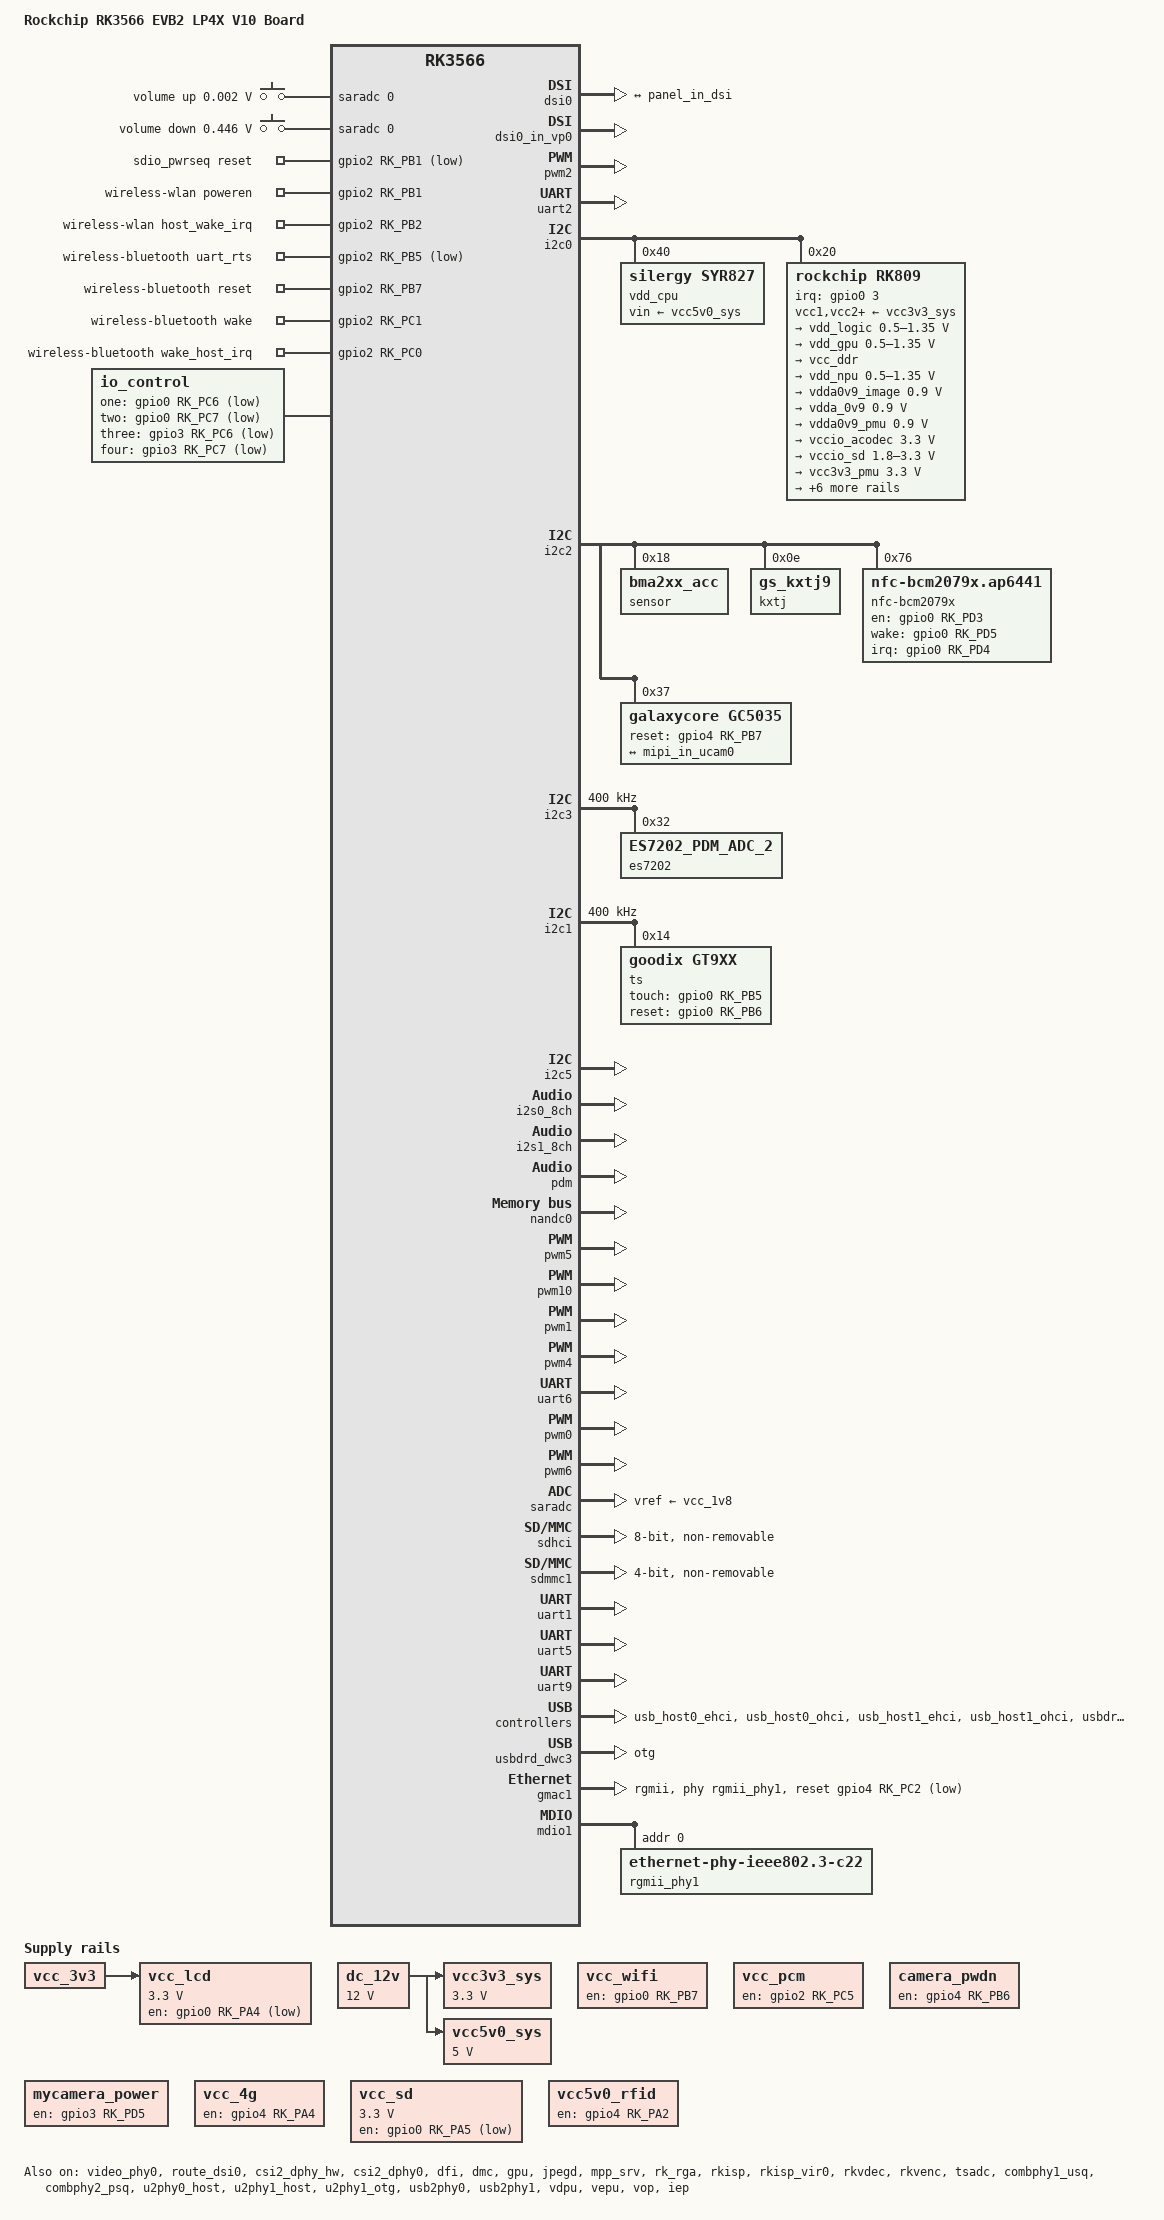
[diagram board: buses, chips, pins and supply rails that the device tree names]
// SPDX-License-Identifier: (GPL-2.0+ OR MIT)
/*
 * Copyright (c) 2020 Rockchip Electronics Co., Ltd.
 *
 */

/dts-v1/;

#include <dt-bindings/gpio/gpio.h>
#include <dt-bindings/display/media-bus-format.h>
#include <dt-bindings/pinctrl/rockchip.h>
#include <dt-bindings/display/rockchip_vop.h>
#include "rk3566.dtsi"
//#include "rk3566-evb.dtsi"
#include "rk3568-evb-r128.dtsi"//rocky
#include "rk3568-linux.dtsi"
#include "lcd-JL101-CC1001-27K-r128.dtsi"
/ {
	model = "Rockchip RK3566 EVB2 LP4X V10 Board";
	compatible = "rockchip,rk3566-evb2-lp4x-v10", "rockchip,rk3566";

	adc_keys: adc-keys {
		compatible = "adc-keys";
		io-channels = <&saradc 0>;
		io-channel-names = "buttons";
		keyup-threshold-microvolt = <1800000>;
		poll-interval = <100>;

		vol-up-key {
			label = "volume up";
			linux,code = <KEY_VOLUMEUP>;
			press-threshold-microvolt = <1750>;
		};

		vol-down-key {
			label = "volume down";
			linux,code = <KEY_VOLUMEDOWN>;
			press-threshold-microvolt = <446000>;
		};
	};
	
	hdmi_sound: hdmi-sound {
		compatible = "simple-audio-card";
		simple-audio-card,format = "i2s";
		simple-audio-card,mclk-fs = <128>;
		simple-audio-card,name = "rockchip,hdmi";
		status = "disabled";

		simple-audio-card,cpu {
				sound-dai = <&i2s0_8ch>;
		};
		simple-audio-card,codec {
				sound-dai = <&hdmi>;
		};
	};

	
	
	dc_12v: dc-12v {
		compatible = "regulator-fixed";
		regulator-name = "dc_12v";
		regulator-always-on;
		regulator-boot-on;
		regulator-min-microvolt = <12000000>;//12000000
		regulator-max-microvolt = <12000000>;//12000000
	};
	
	vcc3v3_sys: vcc3v3-sys {
		compatible = "regulator-fixed";
		regulator-name = "vcc3v3_sys";
		regulator-always-on;
		regulator-boot-on;
		regulator-min-microvolt = <3300000>;
		regulator-max-microvolt = <3300000>;
		vin-supply = <&dc_12v>;
	};

	vcc5v0_sys: vcc5v0-sys {
		compatible = "regulator-fixed";
		regulator-name = "vcc5v0_sys";
		regulator-always-on;
		regulator-boot-on;
		regulator-min-microvolt = <5000000>;
		regulator-max-microvolt = <5000000>;
		vin-supply = <&dc_12v>;
	};
	
	vcc_wifi: vcc-wifi-regulator {
		compatible = "regulator-fixed";
		gpio = <&gpio0 RK_PB7 GPIO_ACTIVE_HIGH>;
		pinctrl-names = "default";
		pinctrl-0 = <&wifi_bat>;
		regulator-name = "vcc_wifi";
		enable-active-high;
		regulator-always-on;
		regulator-boot-on;
	};
        vcc_pcm: vcc-pcm-regulator {
                compatible = "regulator-fixed";
                gpio = <&gpio2 RK_PC5 GPIO_ACTIVE_HIGH>;
                pinctrl-names = "default";
                pinctrl-0 = <&pcm_bat>;
                regulator-name = "vcc_pcm";
                enable-active-high;
                regulator-always-on;
                regulator-boot-on;
        };
	camera_pwdn:camera-pwdn-regulator {
        compatible = "regulator-fixed";
            regulator-name = "camera_pwdn";
            gpio = <&gpio4 RK_PB6 GPIO_ACTIVE_HIGH>;
            pinctrl-names = "default";
            pinctrl-0 = <&camera_pwdns>;
            enable-active-high;
            regulator-always-on;
            regulator-boot-on;
    };
    mycamera_power:mycamera-power-regulator {
        compatible = "regulator-fixed";
            regulator-name = "mycamera_power";
            gpio = <&gpio3 RK_PD5 GPIO_ACTIVE_HIGH>;
            pinctrl-names = "default";
            pinctrl-0 = <&mycamera_powers>;
            enable-active-high;
            regulator-always-on;
            regulator-boot-on;
    };
	
	
	vcc_4g: vcc-4g-regulator {
		compatible = "regulator-fixed";
		gpio = <&gpio4 RK_PA4 GPIO_ACTIVE_HIGH>;
		pinctrl-names = "default";
		pinctrl-0 = <&pwr_4g>;
		regulator-name = "vcc_4g";
		enable-active-high;
		regulator-always-on;
		regulator-boot-on;
	};
	
	/*vcc_spk_con: vcc-spk-con {
		compatible = "regulator-fixed";
		gpio = <&gpio4 RK_PA3 GPIO_ACTIVE_HIGH>;
		pinctrl-names = "default";
		pinctrl-0 = <&spk_con>;
		regulator-name = "spk_con";
		enable-active-high;
		regulator-always-on;
		regulator-boot-on;
	};*/
	
	
	
	/*rk809_sound: rk809-sound {
		status = "okay";
		compatible = "simple-audio-card";
		simple-audio-card,format = "i2s";
		simple-audio-card,name = "rockchip,rk809-codec";
		simple-audio-card,mclk-fs = <256>;

		simple-audio-card,cpu {
			sound-dai = <&i2s1_8ch>;
		};
		simple-audio-card,codec {
			sound-dai = <&rk809_codec>;
		};
	};*/
	
	rk809_sound: rk809-sound {
		status = "okay";
		compatible = "rockchip,multicodecs-card";
		rockchip,card-name = "rockchip-rk809";
		rockchip,format = "i2s";
		rockchip,mclk-fs = <256>;
		rockchip,cpu = <&i2s1_8ch>;
		rockchip,codec = <&rk809_codec>;
	};
	
	vad_sound: vad-sound {
		status = "disabled";
		compatible = "rockchip,multicodecs-card";
		rockchip,card-name = "rockchip,rk3568-vad";
		rockchip,cpu = <&i2s1_8ch>;
		rockchip,codec = <&rk809_codec>, <&vad>;
	};

	pdm_mic_array: pdm-mic-array {
		status = "okay";
		compatible = "simple-audio-card";
		simple-audio-card,name = "rockchip,pdm-mic-array";
		simple-audio-card,cpu {
			 sound-dai = <&pdm>;
		};
		simple-audio-card,codec {
			 sound-dai = <&pdmics>;
		};
	};

	pdmics: dummy-codec {
		status = "okay";
		compatible = "rockchip,dummy-codec";
		#sound-dai-cells = <0>;
	};
 
	/*rk_headset: rk-headset {
		compatible = "rockchip_headset";
		headset_gpio = <&gpio4 RK_PA1 GPIO_ACTIVE_LOW>;
		pinctrl-names = "default";
		pinctrl-0 = <&hp_det>;
		io-channels = <&saradc 2>;
	};*/

	sdio_pwrseq: sdio-pwrseq {
		compatible = "mmc-pwrseq-simple";
		clocks = <&rk809 1>;
		clock-names = "ext_clock";
		pinctrl-names = "default";
		pinctrl-0 = <&wifi_enable_h>;

		/*
		 * On the module itself this is one of these (depending
		 * on the actual card populated):
		 * - SDIO_RESET_L_WL_REG_ON
		 * - PDN (power down when low)
		 */
		post-power-on-delay-ms = <200>;
		reset-gpios = <&gpio2 RK_PB1 GPIO_ACTIVE_LOW>;
	};

	vcc_sd: vcc-sd {
		compatible = "regulator-gpio";
		enable-active-low;
		enable-gpio = <&gpio0 RK_PA5 GPIO_ACTIVE_LOW>;
		regulator-min-microvolt = <3300000>;
		regulator-max-microvolt = <3300000>;
		pinctrl-names = "default";
		pinctrl-0 = <&vcc_sd_h>;
		regulator-name = "vcc_sd";
		states = <3300000 0x0
			3300000 0x1>;
	};
	
	vcc_lcd: vcc-lcd-regulator {
		compatible = "regulator-fixed";
		regulator-name = "vcc_lcd";
		regulator-boot-on;
		regulator-min-microvolt = <3300000>;
		regulator-max-microvolt = <3300000>;
		//enable-active-high;
		enable-active-low;
		//regulator-always-on;
		gpio = <&gpio0 RK_PA4 GPIO_ACTIVE_LOW>;
		pinctrl-names = "default";
		pinctrl-0 = <&lcd_enable_gpio>;
		vin-supply = <&vcc_3v3>;

		regulator-state-mem {
			regulator-off-in-suspend;
		};
	};

	wireless-wlan {
		compatible = "wlan-platdata";
		rockchip,grf = <&grf>;
		wifi_chip_type = "ap6398s";
		WIFI,poweren_gpio = <&gpio2 RK_PB1 GPIO_ACTIVE_HIGH>;
		WIFI,host_wake_irq = <&gpio2 RK_PB2 GPIO_ACTIVE_HIGH>;
		pinctrl-names = "default";
		pinctrl-0 = <&wifi_host_wake_irq>;
		status = "okay";
	};

	wireless-bluetooth {
		compatible = "bluetooth-platdata";
		clocks = <&rk809 1>;
		clock-names = "ext_clock";
		//wifi-bt-power-toggle;
		uart_rts_gpios = <&gpio2 RK_PB5 GPIO_ACTIVE_LOW>;
		pinctrl-names = "default", "rts_gpio";
		pinctrl-0 = <&uart1m0_rtsn>,<&bt_reset_gpio>,<&bt_wake_gpio>,<&bt_irq_gpio>;
		pinctrl-1 = <&uart1_gpios>;
		BT,reset_gpio    = <&gpio2 RK_PB7 GPIO_ACTIVE_HIGH>;
		BT,wake_gpio     = <&gpio2 RK_PC1 GPIO_ACTIVE_HIGH>;
		BT,wake_host_irq = <&gpio2 RK_PC0 GPIO_ACTIVE_HIGH>;
		status = "okay";
	};
	
	//add by rocky
	test-power {
		status = "okay";
	};
	
	io_control {
		compatible = "io_control";
		gpio-one = <&gpio0 RK_PC6 GPIO_ACTIVE_LOW>;
		gpio-two = <&gpio0 RK_PC7 GPIO_ACTIVE_LOW>;
		gpio-three = <&gpio3 RK_PC6 GPIO_ACTIVE_LOW>;
		gpio-four = <&gpio3 RK_PC7 GPIO_ACTIVE_LOW>;
		pinctrl-names = "default","one","two","three";
		pinctrl-0 = <&gpio_one>;
		pinctrl-1 = <&gpio_two>;
		pinctrl-2 = <&gpio_three>;
		pinctrl-3 = <&gpio_four>;
		status = "okay";
	};
	
	pwmleds{
		compatible = "pwm-wa-leds";
		pwms = <&pwm10 0 100000  0>;
		red-pwm-id = <10>;
		red-period = <1000000>;//100000
		red-default-level = <0>;
		green-pwm-id = <0>;//1
		green-period = <1000000>;//100000	
		green-default-level = <0>;
		blue-pwm-id = <2>;//5
		blue-period = <1000000>;//100000
		blue-default-level = <0>;

	        led_con_1 = <&gpio4 RK_PB1 GPIO_ACTIVE_LOW>;
		pinctrl-names = "default";
		pinctrl-0 = <&led_pwr>;	
		status = "okay";
	};
	
	/*led_con_h {
		compatible = "led_con_h";
		//zigbee-en-gpio = <&gpio0 GPIO_C2 GPIO_ACTIVE_HIGH>;
		//led-power = <131>;//gpio4 RK_PA3
		led-gpio = <&gpio3 RK_PC1 GPIO_ACTIVE_HIGH>;
		status = "disabled";
	};*/
        /*motion-det{
	    compatible = "nix-sensor";
	    motion_det = <&gpio3 RK_PC1 GPIO_ACTIVE_HIGH>;
	   status = "okay";
    };*/
  
   vcc5v0_rfid: vcc5v0-rfid {
		compatible = "regulator-fixed";
		enable-active-high;
		gpio = <&gpio4 RK_PA2 GPIO_ACTIVE_HIGH>;
		pinctrl-names = "default";
		pinctrl-0 = <&vcc5v0_rfid_en>;
		regulator-name = "vcc5v0_rfid";
		regulator-always-on;
		regulator-boot-on;
		//regulator-min-microvolt = <5000000>;
		//regulator-max-microvolt = <5000000>;
		//vin-supply = <&dc_12v>;
	};

};

&dsi0{
    status ="okay";
    	ports {
		#address-cells = <1>;
		#size-cells = <0>;

		port@1 {
			reg = <1>;
			dsi_out_panel: endpoint {
				remote-endpoint = <&panel_in_dsi>;
			};
		};
	};
};
/*
 * video_phy0 needs to be enabled
 * when dsi0 is enabled
 */
&dsi0_in_vp0 {
	status = "okay";
};
&dsi0_in_vp1 {
	status = "disabled";
};
&video_phy0{
    status = "okay";
};
&route_dsi0 {
	status = "okay";
	connect = <&vp0_out_dsi0>;
};
/*
 * video_phy1 needs to be enabled
 * when dsi1 is enabled
 */
&video_phy1{
    status = "disabled";
};
&dsi1 {
	status = "disabled";
};

&dsi1_in_vp0 {
	status = "disabled";
};

&dsi1_in_vp1 {
	status = "disabled";
};

&dsi0_panel{
     status = "okay";
	 power-supply = <&vcc_lcd>;
	 reset-gpios = <&gpio4 RK_PA0 GPIO_ACTIVE_LOW>;
	 pinctrl-names = "default";
	 pinctrl-0 = <&lcd_rst_gpio>;
	ports {
		#address-cells = <1>;
		#size-cells = <0>;

		port@0 {
			reg = <0>;
			panel_in_dsi: endpoint {
				remote-endpoint = <&dsi_out_panel>;
			};
		};
	};
};

&edp_phy {
	status = "disabled";
};

&edp_in_vp1 {
	status = "disabled";
};

&edp_in_vp0 {
	status = "disabled";
};

&route_edp {
	status = "disabled";
	connect = <&vp1_out_edp>;
};
&pwm2 {
     status = "okay";
	 };

&cpu0 {
	cpu-supply = <&vdd_cpu>;
};

&uart2 {
      status = "okay";
      pinctrl-name = "default";
      pinctrl-0 = <&uart2m0_xfer>;
};

&csi2_dphy_hw {
	status = "okay";
};

&csi2_dphy0 {
	status = "okay";

	ports {
		#address-cells = <1>;
		#size-cells = <0>;

		port@0 {
			reg = <0>;
			#address-cells = <1>;
			#size-cells = <0>;

			dphy0_in: endpoint@1 {
				reg = <1>;
				remote-endpoint = <&gc8034_out>;
				data-lanes = <1 2 3 4>;
			};
                        mipi_in_ucam0: endpoint@0 {
				reg = <0>;
				remote-endpoint = <&gc5035_out>;
				data-lanes = <1 2>;
			};
			mipi_in_ucam1: endpoint@2 {
				reg = <2>;
				remote-endpoint = <&ov5695_out>;
				data-lanes = <1 2>;
			};

			/*mipi_in_ucam2: endpoint@3 {
				reg = <3>;
				remote-endpoint = <&gc5025_out>;
				data-lanes = <1 2>;
			};*/
		};

		port@1 {
			reg = <1>;
			#address-cells = <1>;
			#size-cells = <0>;

			dphy0_out: endpoint@1 {
				reg = <1>;
				remote-endpoint = <&isp0_in_dphy0>;
			};
		};
	};
};

&csi2_dphy1 {
	status = "disabled";

	/*
	 * dphy1 only used for split mode,
	 * can be used  concurrently  with dphy2
	 * full mode and split mode are mutually exclusive
	 */
	ports {
		#address-cells = <1>;
		#size-cells = <0>;

		port@0 {
			reg = <0>;
			#address-cells = <1>;
			#size-cells = <0>;

			dphy1_in: endpoint@1 {
				reg = <1>;
				//remote-endpoint = <&ov5695_out>;
				data-lanes = <1 2>;
			};
		};

		port@1 {
			reg = <1>;
			#address-cells = <1>;
			#size-cells = <0>;

			dphy1_out: endpoint@1 {
				reg = <1>;
				remote-endpoint = <&isp0_in>;
			};
		};
	};
};

&dfi {
	status = "okay";
};

&dmc {
	center-supply = <&vdd_logic>;
	status = "okay";
};







&gpu {
	mali-supply = <&vdd_gpu>;
	status = "okay";
};

&hdmi {
	status = "disabled";
	rockchip,phy-table =
		<92812500  0x8009 0x0000 0x0270>,
		<165000000 0x800b 0x0000 0x026d>,
		<185625000 0x800b 0x0000 0x01ed>,
		<297000000 0x800b 0x0000 0x01ad>,
		<594000000 0x8029 0x0000 0x0088>,
		<000000000 0x0000 0x0000 0x0000>;
};

&hdmi_in_vp0 {
	status = "disabled";
};

&hdmi_in_vp1 {
	status = "disabled";
};

&hdmi_sound {
	status = "disabled";
};

&i2c0 {
	status = "okay";

	/*vdd_cpu: tcs4525@1c {
		compatible = "tcs,tcs452x";
		reg = <0x1c>;
		vin-supply = <&vccsys>;
		regulator-compatible = "fan53555-reg";
		regulator-name = "vdd_cpu";
		regulator-min-microvolt = <712500>;
		regulator-max-microvolt = <1390000>;
		regulator-init-microvolt = <900000>;
		regulator-ramp-delay = <2300>;
		fcs,suspend-voltage-selector = <1>;
		regulator-boot-on;
		regulator-always-on;
		regulator-state-mem {
			regulator-off-in-suspend;
		};
	};*/
	
	vdd_cpu: syr827@40 {
		compatible = "silergy,syr827";
		reg = <0x40>;
		vin-supply = <&vcc5v0_sys>;
		regulator-compatible = "fan53555-reg";
		//pinctrl-0 = <&soc_slppin_gpio>;
		//vsel-gpios = <&gpio0 2 GPIO_ACTIVE_HIGH>;
		regulator-name = "vdd_cpu";
		regulator-min-microvolt = <712500>;
		regulator-max-microvolt = <1500000>;
		regulator-init-microvolt = <900000>;//rocky
		regulator-ramp-delay = <1000>;
		fcs,suspend-voltage-selector = <1>;
		regulator-always-on;
		regulator-boot-on;
		regulator-initial-state = <3>;
		regulator-state-mem {
			regulator-off-in-suspend;
		};
	};

	rk809: pmic@20 {
		compatible = "rockchip,rk809";
		reg = <0x20>;
		interrupt-parent = <&gpio0>;
		interrupts = <3 IRQ_TYPE_LEVEL_LOW>;

		pinctrl-names = "default", "pmic-sleep",
				"pmic-power-off", "pmic-reset";
		pinctrl-0 = <&pmic_int>;
		pinctrl-1 = <&soc_slppin_slp>, <&rk817_slppin_slp>;
		pinctrl-2 = <&soc_slppin_gpio>, <&rk817_slppin_pwrdn>;
		pinctrl-3 = <&soc_slppin_gpio>, <&rk817_slppin_rst>;

		rockchip,system-power-controller;
		wakeup-source;
		#clock-cells = <1>;
		clock-output-names = "rk808-clkout1", "rk808-clkout2";
		//fb-inner-reg-idxs = <2>;
		/* 1: rst regs (default in codes), 0: rst the pmic */
		pmic-reset-func = <0>;
		/* not save the PMIC_POWER_EN register in uboot */
		not-save-power-en = <1>;

		vcc1-supply = <&vcc3v3_sys>;
		vcc2-supply = <&vcc3v3_sys>;
		vcc3-supply = <&vcc3v3_sys>;
		vcc4-supply = <&vcc3v3_sys>;
		vcc5-supply = <&vcc3v3_sys>;
		vcc6-supply = <&vcc3v3_sys>;
		vcc7-supply = <&vcc3v3_sys>;
		vcc8-supply = <&vcc3v3_sys>;
		vcc9-supply = <&vcc3v3_sys>;

		pwrkey {
			status = "okay";
		};
		
		rtc {
			status = "okay";
		};

		pinctrl_rk8xx: pinctrl_rk8xx {
			gpio-controller;
			#gpio-cells = <2>;

			rk817_slppin_null: rk817_slppin_null {
				pins = "gpio_slp";
				function = "pin_fun0";
			};

			rk817_slppin_slp: rk817_slppin_slp {
				pins = "gpio_slp";
				function = "pin_fun1";
			};

			rk817_slppin_pwrdn: rk817_slppin_pwrdn {
				pins = "gpio_slp";
				function = "pin_fun2";
			};

			rk817_slppin_rst: rk817_slppin_rst {
				pins = "gpio_slp";
				function = "pin_fun3";
			};
		};

		regulators {
			vdd_logic: DCDC_REG1 {
				regulator-always-on;
				regulator-boot-on;
				regulator-min-microvolt = <500000>;
				regulator-max-microvolt = <1350000>;
				regulator-init-microvolt = <900000>;
				regulator-ramp-delay = <6001>;
				regulator-initial-mode = <0x2>;
				regulator-name = "vdd_logic";
				regulator-state-mem {
					regulator-on-in-suspend;//rocky
					regulator-suspend-microvolt = <900000>;
				};
			};

			vdd_gpu: DCDC_REG2 {
				regulator-always-on;
				regulator-boot-on;
				regulator-min-microvolt = <500000>;
				regulator-max-microvolt = <1350000>;
				regulator-init-microvolt = <900000>;
				regulator-ramp-delay = <6001>;
				regulator-initial-mode = <0x2>;
				regulator-name = "vdd_gpu";
				regulator-state-mem {
					regulator-off-in-suspend;
				};
			};

			vcc_ddr: DCDC_REG3 {
				regulator-always-on;
				regulator-boot-on;
				regulator-initial-mode = <0x2>;
				regulator-name = "vcc_ddr";
				regulator-state-mem {
					regulator-on-in-suspend;
				};
			};

			vdd_npu: DCDC_REG4 {
				regulator-always-on;
				regulator-boot-on;
				regulator-min-microvolt = <500000>;
				regulator-max-microvolt = <1350000>;
				regulator-init-microvolt = <900000>;
				regulator-ramp-delay = <6001>;
				regulator-initial-mode = <0x2>;
				regulator-name = "vdd_npu";
				regulator-state-mem {
					regulator-off-in-suspend;
				};
			};

			vdda0v9_image: LDO_REG1 {
				regulator-boot-on;
				regulator-always-on;
				regulator-min-microvolt = <900000>;
				regulator-max-microvolt = <900000>;
				regulator-name = "vdda0v9_image";
				regulator-state-mem {
					regulator-off-in-suspend;
				};
			};

			vdda_0v9: LDO_REG2 {
				regulator-always-on;
				regulator-boot-on;
				regulator-min-microvolt = <900000>;
				regulator-max-microvolt = <900000>;
				regulator-name = "vdda_0v9";
				regulator-state-mem {
					regulator-off-in-suspend;
				};
			};

			vdda0v9_pmu: LDO_REG3 {
				regulator-always-on;
				regulator-boot-on;
				regulator-min-microvolt = <900000>;
				regulator-max-microvolt = <900000>;
				regulator-name = "vdda0v9_pmu";
				regulator-state-mem {
					regulator-on-in-suspend;
					regulator-suspend-microvolt = <900000>;
				};
			};

			vccio_acodec: LDO_REG4 {
				regulator-always-on;
				regulator-boot-on;
				regulator-min-microvolt = <3300000>;
				regulator-max-microvolt = <3300000>;
				regulator-name = "vccio_acodec";
				regulator-state-mem {
					regulator-off-in-suspend;
				};
			};

			vccio_sd: LDO_REG5 {
				regulator-always-on;
				regulator-boot-on;
				regulator-min-microvolt = <1800000>;
				regulator-max-microvolt = <3300000>;
				regulator-name = "vccio_sd";
				regulator-state-mem {
					regulator-off-in-suspend;
				};
			};

			vcc3v3_pmu: LDO_REG6 {
				regulator-always-on;
				regulator-boot-on;
				regulator-min-microvolt = <3300000>;
				regulator-max-microvolt = <3300000>;
				regulator-name = "vcc3v3_pmu";
				regulator-state-mem {
					regulator-on-in-suspend;
					regulator-suspend-microvolt = <3300000>;
				};
			};

			vcca_1v8: LDO_REG7 {
				regulator-always-on;
				regulator-boot-on;
				regulator-min-microvolt = <1800000>;
				regulator-max-microvolt = <1800000>;
				regulator-name = "vcca_1v8";
				regulator-state-mem {
					regulator-off-in-suspend;
				};
			};

			vcca1v8_pmu: LDO_REG8 {
				regulator-always-on;
				regulator-boot-on;
				regulator-min-microvolt = <1800000>;
				regulator-max-microvolt = <1800000>;
				regulator-name = "vcca1v8_pmu";
				regulator-state-mem {
					regulator-on-in-suspend;
					regulator-suspend-microvolt = <1800000>;
				};
			};

			vcca1v8_image: LDO_REG9 {
				regulator-always-on;
				regulator-boot-on;
				regulator-min-microvolt = <1800000>;
				regulator-max-microvolt = <1800000>;
				regulator-name = "vcca1v8_image";
				regulator-state-mem {
					regulator-off-in-suspend;
				};
			};

			vcc_1v8: DCDC_REG5 {
				regulator-always-on;
				regulator-boot-on;
				regulator-min-microvolt = <1800000>;
				regulator-max-microvolt = <1800000>;
				regulator-name = "vcc_1v8";
				regulator-state-mem {
					regulator-on-in-suspend;
					regulator-suspend-microvolt = <1800000>;
				};
			};

			vcc_3v3: SWITCH_REG1 {
				regulator-always-on;
				regulator-boot-on;
				regulator-name = "vcc_3v3";
				regulator-state-mem {
					regulator-on-in-suspend;
				};
			};

			vcc3v3_sd: SWITCH_REG2 {
				regulator-always-on;
				regulator-boot-on;
				regulator-name = "vcc3v3_sd";
				regulator-state-mem {
					regulator-off-in-suspend;
				};
			};
		};

		/*rk809_codec: codec {
			#sound-dai-cells = <0>;
			compatible = "rockchip,rk809-codec", "rockchip,rk817-codec";
			clocks = <&cru I2S1_MCLKOUT>;
			clock-names = "mclk";
			assigned-clocks = <&cru I2S1_MCLKOUT>, <&cru I2S1_MCLK_TX_IOE>;
			assigned-clock-rates = <12288000>;
			assigned-clock-parents = <&cru I2S1_MCLKOUT_TX>, <&cru I2S1_MCLKOUT_TX>;
			pinctrl-names = "default";
			pinctrl-0 = <&i2s1m0_mclk>;
			hp-volume = <8>;//20-4.39mW//add 22Ohm  8-0.385-4.49mW//4.9mW
			spk-volume = <10>;//10-1.67W  8-1.93w
			capture-volume = <20>;
			//out-l2spk-r2hp;
			//mic-in-differential;
			//pdmdata-out-enable;
			use-ext-amplifier;
			//adc-for-loopback;
			spk-ctl-gpios = <&gpio3 RK_PC7 GPIO_ACTIVE_HIGH>;
			status = "okay";
		};*/
		
		rk809_codec: codec {
			#sound-dai-cells = <0>;
			compatible = "rockchip,rk809-codec", "rockchip,rk817-codec";
			clocks = <&cru I2S1_MCLKOUT>;
			clock-names = "mclk";
			assigned-clocks = <&cru I2S1_MCLKOUT>, <&cru I2S1_MCLK_TX_IOE>;
			assigned-clock-rates = <12288000>;
			assigned-clock-parents = <&cru I2S1_MCLKOUT_TX>, <&cru I2S1_MCLKOUT_TX>;
			pinctrl-names = "default";
			pinctrl-0 = <&i2s1m0_mclk>;
			hp-volume = <8>;//20-4.39mW//add 22Ohm  8-0.385-4.49mW//4.9mW
			spk-volume = <26>;//28-1.32W//26-1.56W
			capture-volume = <20>;
			//out-l2spk-r2hp;
			//mic-in-differential;
			//pdmdata-out-enable;
			use-ext-amplifier;
			//adc-for-loopback;
			spk-ctl-gpios = <&gpio4 RK_PA3 GPIO_ACTIVE_HIGH>;
			status = "okay";
		};
	};
};

&i2c2 {
	status = "okay";
	pinctrl-0 = <&i2c2m1_xfer>;

	sensor@18 {
		status = "okay";
		compatible = "bma2xx_acc";
		reg = <0x18>;
		type = <SENSOR_TYPE_ACCEL>;
		irq_enable = <0>;
		//pinctrl-names = "default";
		//pinctrl-0 = <&sensor_gpio>;
		//irq-gpio = <&gpio4 RK_PA6 IRQ_TYPE_EDGE_RISING>;
		poll_delay_ms = <10>;
		power-off-in-suspend = <1>;
		layout = <1>;
	};
	
	mi160@68 {
		status = "disabled";
		compatible = "bmi160_gyro";
		reg = <0x68>;
		type = <SENSOR_TYPE_GYROSCOPE>;
		//irq-gpio = <&gpio8 0 IRQ_TYPE_LEVEL_LOW>;
 		irq_enable = <0>;
 		poll_delay_ms = <30>;
 		layout = <6>;    //for r74
	};
	
	kxtj: kxtj2@0e {
		status = "okay";
		compatible = "gs_kxtj9";
		reg = <0x0e>;
		type = <SENSOR_TYPE_ACCEL>;
		irq_enable = <0>;
		//pinctrl-names = "default";
		//pinctrl-0 = <&sensor_gpio>;
		//irq-gpio = <&gpio4 RK_PA6 IRQ_TYPE_EDGE_RISING>;
		poll_delay_ms = <30>;
		power-off-in-suspend = <1>;
		layout = <2>;
	};

	dw9714: dw9714@c {
		compatible = "dongwoon,dw9714";
		status = "disabled";
		reg = <0x0c>;
		rockchip,camera-module-index = <0>;
		rockchip,vcm-start-current = <10>;
		rockchip,vcm-rated-current = <85>;
		rockchip,vcm-step-mode = <5>;
		rockchip,camera-module-facing = "back";
	};

	
	
	ov5648: ov5648@36 {
		compatible = "ovti,ov5648";
		status = "disabled";
		reg = <0x36>;
		clocks = <&cru CLK_CAM0_OUT>;
		clock-names = "xvclk";
		power-domains = <&power RK3568_PD_VI>;//rocky
		/* avdd-supply = <>; */
		/* dvdd-supply = <>; */
		/* dovdd-supply = <>; */
		/* reset-gpios = <>; */
		//dovdd-supply = <&vcc1v8_dvp>;
		//power-gpios = <&gpio0 RK_PD6 GPIO_ACTIVE_HIGH>;
		reset-gpios = <&gpio4 RK_PB7 GPIO_ACTIVE_LOW>;
        pwdn-gpios = <&gpio4 RK_PB6 GPIO_ACTIVE_HIGH>;
		pinctrl-names = "rockchip,camera_default", "rockchip,camera_sleep";
		pinctrl-0 = <&cam_clkout0>;
		pinctrl-1 = <&cam_sleep>;	
		rockchip,camera-module-index = <0>;
		rockchip,camera-module-facing = "front";
		rockchip,camera-module-name = "default";
		rockchip,camera-module-lens-name = "default";                

		port {
				ov5648_out: endpoint {
						remote-endpoint = <&mipi_in_ucam0>;
						//remote-endpoint = <&mipi_in_ucam1>;
						data-lanes = <1 2>;
				};
		};
    };
	
	nfc-bcm2079x@76 {
		compatible = "nfc-bcm2079x.ap6441";
		reg = <0x76>;
		//pw_gpio = <&gpio7 16 GPIO_ACTIVE_HIGH>;
		en_gpio = <&gpio0 RK_PD3 GPIO_ACTIVE_HIGH>;
		wake_gpio = <&gpio0 RK_PD5 GPIO_ACTIVE_HIGH>;
		irq_gpio = <&gpio0 RK_PD4 IRQ_TYPE_EDGE_RISING>;
		status = "okay";
    };
	
	/* split mode: lane:2/3 */
	gc5035: gc5035@37 {
		status = "okay";
		compatible = "galaxycore,gc5035";
		reg = <0x37>;
		clocks = <&cru CLK_CAM0_OUT>;
		clock-names = "xvclk";
		pinctrl-names = "default";
		pinctrl-0 = <&cam_clkout0>;
                pinctrl-1 = <&cam_sleep>;
                //power-gpios = <&gpio3 RK_PD5 GPIO_ACTIVE_HIGH>;
		reset-gpios = <&gpio4 RK_PB7 GPIO_ACTIVE_HIGH>;
		//pwdn-gpios = <&gpio4 RK_PB6 GPIO_ACTIVE_HIGH>;
		power-domains = <&power RK3568_PD_VI>;
		/*power-gpios = <&gpio0 RK_PC1 GPIO_ACTIVE_HIGH>;*/
		rockchip,camera-module-index = <0>;
		rockchip,camera-module-facing = "front";
		rockchip,camera-module-name = "XHG-RKX11F-V5";
		rockchip,camera-module-lens-name = "HR232H65";
		port {
			gc5035_out: endpoint {
				remote-endpoint = <&mipi_in_ucam0>;
				data-lanes = <1 2>;
			};
		};
	};

	/* full mode: lane0-3 */
	gc8034: gc8034@37 {
		compatible = "galaxycore,gc8034";
		status = "disabled";
		reg = <0x37>;
		clocks = <&cru CLK_CIF_OUT>;
		clock-names = "xvclk";
		power-domains = <&power RK3568_PD_VI>;
		pinctrl-names = "default";
		pinctrl-0 = <&cif_clk>;
		reset-gpios = <&gpio3 RK_PA6 GPIO_ACTIVE_LOW>;
		pwdn-gpios = <&gpio4 RK_PB2 GPIO_ACTIVE_LOW>;
		rockchip,camera-module-index = <0>;
		rockchip,camera-module-facing = "back";
		rockchip,camera-module-name = "RK-CMK-8M-2-v1";
		rockchip,camera-module-lens-name = "CK8401";
		port {
			gc8034_out: endpoint {
				remote-endpoint = <&dphy0_in>;
				data-lanes = <1 2 3 4>;
			};
		};
	};
	
	ov5695: ov5695@36 {
		status = "disabled";
		compatible = "ovti,ov5695";
		reg = <0x36>;
		clocks = <&cru CLK_CIF_OUT>;
		clock-names = "xvclk";
		power-domains = <&power RK3568_PD_VI>;
		pinctrl-names = "default";
		pinctrl-0 = <&cif_clk>;
		reset-gpios = <&gpio3 RK_PA6 GPIO_ACTIVE_HIGH>;
		pwdn-gpios = <&gpio4 RK_PB2 GPIO_ACTIVE_HIGH>;
		/*power-gpios = <&gpio0 RK_PC1 GPIO_ACTIVE_HIGH>;*/
		rockchip,camera-module-index = <0>;
		rockchip,camera-module-facing = "back";
		rockchip,camera-module-name = "TongJu";
		rockchip,camera-module-lens-name = "CHT842-MD";
		port {
			ov5695_out: endpoint {
				remote-endpoint = <&mipi_in_ucam1>;
				data-lanes = <1 2>;
			};
		};
	};
	
};

&i2c3 {
	status = "okay";
	clock-frequency = <400000>;
	es7202: es7202@32 {
                status = "okay";
                #sound-dai-cells = <0>;
                //compatible = "ES7202_PDM_ADC_1";
                compatible = "ES7202_PDM_ADC_2";
                reg = <0x32>;
        };
	hym8563: hym8563@51 {
                compatible = "rtc,hym8563";
                reg = <0x51>;
                #clock-cells = <0>;	
				status = "disabled";
	};

};

&i2c1 {
	status = "okay";
	clock-frequency = <400000>;

	
	
	ts@14 {
		compatible = "goodix,gt9xx";
		reg = <0x14>;
		pinctrl-names = "default";
		pinctrl-0 = <&tp_gpio>;
		touch-gpio = <&gpio0 RK_PB5 IRQ_TYPE_LEVEL_LOW>;
		reset-gpio = <&gpio0 RK_PB6 GPIO_ACTIVE_HIGH>;
		// power-gpio = <&gpio0 GPIO_C5 GPIO_ACTIVE_LOW>;
		max-x = <1280>;
		max-y = <800>;
		//tp-size = <101>;
		tp-size = <89>;
		//tp-size = <9111>;
		//tp-supply = <&pmic_vcc_tp_33>;
		status = "okay";
    };
	
	

};

&i2c5 {
	status = "okay";

	mxc6655xa: mxc6655xa@15 {
		status = "disabled";
		compatible = "gs_mxc6655xa";
		pinctrl-names = "default";
		pinctrl-0 = <&mxc6655xa_irq_gpio>;
		reg = <0x15>;
		irq-gpio = <&gpio3 RK_PC1 IRQ_TYPE_LEVEL_LOW>;
		irq_enable = <0>;
		poll_delay_ms = <30>;
		type = <SENSOR_TYPE_ACCEL>;
		power-off-in-suspend = <1>;
		layout = <1>;
	};
};

&i2s0_8ch {
	status = "okay";
};

&i2s1_8ch {
	status = "okay";
	#sound-dai-cells = <0>;//rocky
	rockchip,clk-trcm = <1>;
	pinctrl-names = "default";
	pinctrl-0 = <&i2s1m0_sclktx
		     &i2s1m0_lrcktx
		     &i2s1m0_sdi0
		     &i2s1m0_sdo0>;
};

&pdm {
     status = "okay";
	 rockchip,path-map = <2 3 1 0>;
	 #sound-dai-cells = <0>;
	 pinctrl-name = "default";
	 pinctrl-0 = <&pdmm0_clk1
	              &pdmm0_sdi1
				  &pdmm0_sdi2
				  &pdmm0_sdi3
	               >;
};

&jpegd {
	status = "okay";
};

&jpegd_mmu {
	status = "okay";
};



&mpp_srv {
	status = "okay";
};

&nandc0 {
	status = "okay";
};

&rockchip_suspend {
	status = "okay";
	rockchip,sleep-mode-config = <
		(0
		| RKPM_SLP_CENTER_OFF
		| RKPM_SLP_HW_PLLS_OFF
		| RKPM_SLP_PMUALIVE_32K
		| RKPM_SLP_PMIC_LP
		| RKPM_SLP_32K_PVTM
		)
	>;
	rockchip,wakeup-config = <
		(0
		| RKPM_PWM0_WKUP_EN
		| RKPM_CPU0_WKUP_EN
		/*| RKPM_GPIO_WKUP_EN*/
		)
	>;
};

&pinctrl {
    mxc6655xa {
		mxc6655xa_irq_gpio: mxc6655xa_irq_gpio {
			rockchip,pins = <3 RK_PC1 RK_FUNC_GPIO &pcfg_pull_none>;
		};
	};
	cam {
	
		camera_pwr: camera-pwr {
			rockchip,pins =
				/* camera power en */
				<0 RK_PC1 RK_FUNC_GPIO &pcfg_pull_none>;
		};
	
		cam_clkout0: cam-clkout0 {
			rockchip,pins =
				/* cam_clkout0 */
				<4 RK_PA7 1 &pcfg_pull_none>;
		};

		cam_sleep: cam-sleep {
			rockchip,pins =
				/* cam_sleep */
				<4 RK_PA7 RK_FUNC_GPIO &pcfg_pull_none>;
		};
	#if 0
		
	
		flash_led_gpios: flash-led {
			rockchip,pins =
				/* flash led enable */
				<4 RK_PA6 RK_FUNC_GPIO &pcfg_pull_none>;
		};
	#endif
	
		camera_pwdns:camera-pwdns {
                rockchip,pins = <4 RK_PB6 RK_FUNC_GPIO &pcfg_pull_up>;
             };
             mycamera_powers:mycamera-powers {
                 rockchip,pins = <3 RK_PD5 RK_FUNC_GPIO &pcfg_pull_up>;
             };
		
		

		vcc5v0_rfid_en: vcc5v0-rfid-en {
			rockchip,pins = 
				<4 RK_PA2 RK_FUNC_GPIO &pcfg_pull_none>;
		};
		
		pwr_4g: pwr-4g {
			rockchip,pins =
				<4 RK_PA4 RK_FUNC_GPIO &pcfg_pull_none>;
		};
		
	};

	tp {
		tp_gpio: tp-gpio {
			rockchip,pins = <0 RK_PB5 RK_FUNC_GPIO &pcfg_pull_up>,
					<0 RK_PB6 RK_FUNC_GPIO &pcfg_pull_none>;
		};
		
		tsc_gpio: tsc-gpio {
			rockchip,pins =
					<0 RK_PB5 RK_FUNC_GPIO &pcfg_pull_up>,
					<0 RK_PB6 RK_FUNC_GPIO &pcfg_pull_up>;
		};
	};

	headphone {
		hp_det: hp-det {
			rockchip,pins = <4 RK_PA1 RK_FUNC_GPIO &pcfg_pull_down>;
		};
		spk_con: spk-con {
			rockchip,pins = <4 RK_PA3 RK_FUNC_GPIO &pcfg_pull_up>;
		};
		
		
	};

    bl_ctrl {
		bl_en: bl-en {
			rockchip,pins = <0 RK_PC5 RK_FUNC_GPIO &pcfg_pull_none>;
		};
	};
	
	lcd {
		lcd_rst_gpio: lcd-rst-gpio {
			rockchip,pins = <4 RK_PA0 RK_FUNC_GPIO &pcfg_pull_none>;
		};

		lcd_enable_gpio: lcd-enable-gpio {
			rockchip,pins = <0 RK_PA4 RK_FUNC_GPIO &pcfg_pull_none>;
		};

	};

	pmic {
		pmic_int: pmic_int {
			rockchip,pins =
				<0 RK_PA3 RK_FUNC_GPIO &pcfg_pull_up>;
		};

		soc_slppin_gpio: soc_slppin_gpio {
			rockchip,pins =
				<0 RK_PA2 RK_FUNC_GPIO &pcfg_output_low>;
		};

		soc_slppin_slp: soc_slppin_slp {
			rockchip,pins =
				<0 RK_PA2 1 &pcfg_pull_none>;
		};

		soc_slppin_rst: soc_slppin_rst {
			rockchip,pins =
				<0 RK_PA2 2 &pcfg_pull_none>;
		};
	};

	sensor {
		sensor_gpio: sensor-gpio {
			rockchip,pins = <4 RK_PA6 RK_FUNC_GPIO &pcfg_pull_none>;
		};
	};

	sdio-pwrseq {
		wifi_enable_h: wifi-enable-h {
			rockchip,pins = <2 RK_PB1 RK_FUNC_GPIO &pcfg_pull_none>;
		};
	};

	vcc_sd {
		vcc_sd_h: vcc-sd-h {
			rockchip,pins = <0 RK_PA5 RK_FUNC_GPIO &pcfg_pull_none>;
		};
	};

	wireless-wlan {
		wifi_host_wake_irq: wifi-host-wake-irq {
			rockchip,pins = <2 RK_PB2 RK_FUNC_GPIO &pcfg_pull_down>;
		};
		wifi_bat: wifi-bat {
				rockchip,pins = <0 RK_PB7 RK_FUNC_GPIO &pcfg_pull_none>;
		};
                pcm_bat: pcm-bat {
                        rockchip,pins = <2 RK_PC5 RK_FUNC_GPIO &pcfg_pull_none>;
                };
	};

	wireless-bluetooth {
		uart1_gpios: uart1-gpios {
			rockchip,pins = <2 RK_PB5 RK_FUNC_GPIO &pcfg_pull_none>;
		};
		bt_reset_gpio: bt-reset-gpio {
				 rockchip,pins = <2 RK_PB7 RK_FUNC_GPIO &pcfg_pull_none>;
		};

		bt_wake_gpio: bt-wake-gpio {
				 rockchip,pins = <2 RK_PC1 RK_FUNC_GPIO &pcfg_pull_none>;
		};

		bt_irq_gpio: bt-irq-gpio {
				 rockchip,pins = <2 RK_PC0 RK_FUNC_GPIO &pcfg_pull_down>;
		};
	};
	
	io_control {
		gpio_one: gpio-one {
			rockchip,pins = <0 RK_PC6 RK_FUNC_GPIO &pcfg_pull_up>;
		};
		gpio_two: gpio-two {
			rockchip,pins = <0 RK_PC7 RK_FUNC_GPIO &pcfg_pull_up>;
		};
		gpio_three: gpio-three {
			rockchip,pins = <3 RK_PC6 RK_FUNC_GPIO &pcfg_pull_up>;
		};
		gpio_four: gpio-four {
			rockchip,pins = <3 RK_PC7 RK_FUNC_GPIO &pcfg_pull_up>;
		};
		
	};
	
	led {
		led_pwr: led-pwr {
			rockchip,pins = <4 RK_PB1 RK_FUNC_GPIO &pcfg_pull_down>;
		};
	};
	
	/*keys {
		key_gpio: key-gpio {
			rockchip,pins =
				<0 RK_PA4 RK_FUNC_GPIO &pcfg_pull_up>,
				<0 RK_PB4 RK_FUNC_GPIO &pcfg_pull_up>;
		};
	};*/
};

&pmu_io_domains {
	status = "okay";
	pmuio1-supply = <&vcc3v3_pmu>;
	pmuio2-supply = <&vcc3v3_pmu>;
	vccio1-supply = <&vccio_acodec>;
	vccio3-supply = <&vccio_sd>;
	vccio4-supply = <&vcc_1v8>;//vcc3v3_sys-8723ds//vcc_1v8-8821cs//vcc3v3_pmu
	vccio5-supply = <&vcc_3v3>;
	vccio6-supply = <&vcc_1v8>;
	vccio7-supply = <&vcc_3v3>;
};

&pwm5 {
	status = "okay";
	pinctrl-names = "active";
	pinctrl-0 = <&pwm5_pins>;
};

&pwm8 {
	status = "disabled";
	//pinctrl-names = "default";
	pinctrl-0 = <&pwm8m1_pins>;
};
&pwm10 {
        status = "okay";
        //pinctrl-names = "default";
        pinctrl-0 = <&pwm10m1_pins>;
};

&pwm1 {
	status = "okay";
	//pinctrl-names = "default";
	pinctrl-0 = <&pwm1m0_pins>;
};

&pwm4 {
	status = "okay";
};

&uart6{
     status = "okay";
     pinctrl-names = "default";
      pinctrl-0 = <&uart6m1_xfer>;
};

&pwm0 {
	status = "okay";
	pinctrl-names = "active";
	pinctrl-0 = <&pwm0m1_pins>;
};
&pwm6 {
	status = "okay";
};

&pwm7 {
	status = "disabled";

	compatible = "rockchip,remotectl-pwm";
	//interrupts = <GIC_SPI 83 IRQ_TYPE_LEVEL_HIGH>;
	remote_pwm_id = <3>;
	handle_cpu_id = <1>;
	remote_support_psci = <1>;//0
	pinctrl-names = "default";
	pinctrl-0 = <&pwm7_pins>;

	ir_key1 {
		rockchip,usercode = <0x4040>;
		rockchip,key_table =
			<0xf2	KEY_REPLY>,
			<0xba	KEY_BACK>,
			<0xf4	KEY_UP>,
			<0xf1	KEY_DOWN>,
			<0xef	KEY_LEFT>,
			<0xee	KEY_RIGHT>,
			<0xbd	KEY_HOME>,
			<0xea	KEY_VOLUMEUP>,
			<0xe3	KEY_VOLUMEDOWN>,
			<0xe2	KEY_SEARCH>,
			<0xb2	KEY_POWER>,
			<0xbc	KEY_MUTE>,
			<0xec	KEY_MENU>,
			<0xbf	0x190>,
			<0xe0	0x191>,
			<0xe1	0x192>,
			<0xe9	183>,
			<0xe6	248>,
			<0xe8	185>,
			<0xe7	186>,
			<0xf0	388>,
			<0xbe	0x175>;
	};

	ir_key2 {
		rockchip,usercode = <0xff00>;
		rockchip,key_table =
			<0xf9	KEY_HOME>,
			<0xbf	KEY_BACK>,
			<0xfb	KEY_MENU>,
			<0xaa	KEY_REPLY>,
			<0xb9	KEY_UP>,
			<0xe9	KEY_DOWN>,
			<0xb8	KEY_LEFT>,
			<0xea	KEY_RIGHT>,
			<0xeb	KEY_VOLUMEDOWN>,
			<0xef	KEY_VOLUMEUP>,
			<0xf7	KEY_MUTE>,
			<0xe7	KEY_POWER>,
			<0xfc	KEY_POWER>,
			<0xa9	KEY_VOLUMEDOWN>,
			<0xa8	KEY_VOLUMEDOWN>,
			<0xe0	KEY_VOLUMEDOWN>,
			<0xa5	KEY_VOLUMEDOWN>,
			<0xab	183>,
			<0xb7	388>,
			<0xe8	388>,
			<0xf8	184>,
			<0xaf	185>,
			<0xed	KEY_VOLUMEDOWN>,
			<0xee	186>,
			<0xb3	KEY_VOLUMEDOWN>,
			<0xf1	KEY_VOLUMEDOWN>,
			<0xf2	KEY_VOLUMEDOWN>,
			<0xf3	KEY_SEARCH>,
			<0xb4	KEY_VOLUMEDOWN>,
			<0xbe	KEY_SEARCH>;
	};

	ir_key3 {
		rockchip,usercode = <0x1dcc>;
		rockchip,key_table =
			<0xee	KEY_REPLY>,
			<0xf0	KEY_BACK>,
			<0xf8	KEY_UP>,
			<0xbb	KEY_DOWN>,
			<0xef	KEY_LEFT>,
			<0xed	KEY_RIGHT>,
			<0xfc	KEY_HOME>,
			<0xf1	KEY_VOLUMEUP>,
			<0xfd	KEY_VOLUMEDOWN>,
			<0xb7	KEY_SEARCH>,
			<0xff	KEY_POWER>,
			<0xf3	KEY_MUTE>,
			<0xbf	KEY_MENU>,
			<0xf9	0x191>,
			<0xf5	0x192>,
			<0xb3	388>,
			<0xbe	KEY_1>,
			<0xba	KEY_2>,
			<0xb2	KEY_3>,
			<0xbd	KEY_4>,
			<0xf9	KEY_5>,
			<0xb1	KEY_6>,
			<0xfc	KEY_7>,
			<0xf8	KEY_8>,
			<0xb0	KEY_9>,
			<0xb6	KEY_0>,
			<0xb5	KEY_BACKSPACE>;
	};		
};

&rk_rga {
	status = "okay";
};

&rkisp {
	status = "okay";
};

&rkisp_mmu {
	status = "okay";
};

&rkisp_vir0 {
	status = "okay";

	port {
		#address-cells = <1>;
		#size-cells = <0>;

		isp0_in: endpoint@0 {
			reg = <0>;
			remote-endpoint = <&dphy1_out>;
		};
		isp0_in_dphy0: endpoint@1 {
			reg = <1>;
			remote-endpoint = <&dphy0_out>;
		};
	};
};

&rkvdec {
	status = "okay";
};

&rkvdec_mmu {
	status = "okay";
};

&rkvenc {
    venc-supply = <&vdd_logic>;
	status = "okay";
};

&rkvenc_mmu {
	status = "okay";
};

&route_hdmi {
	status = "disabled";
	connect = <&vp0_out_hdmi>;
};

&saradc {
	status = "okay";
	vref-supply = <&vcc_1v8>;
};

&sdhci {
	bus-width = <8>;
	supports-emmc;
	non-removable;
	rockchip,txclk-tapnum = <0x8>;
	max-frequency = <200000000>;
	status = "okay";
};

&sdmmc0 {
	max-frequency = <200000000>;
	supports-sd;
	bus-width = <4>;
	cap-mmc-highspeed;
	cap-sd-highspeed;
	disable-wp;
	sd-uhs-sdr104;
	vmmc-supply = <&vcc_sd>;
	vqmmc-supply = <&vccio_sd>;
	pinctrl-names = "default";
	pinctrl-0 = <&sdmmc0_bus4 &sdmmc0_clk &sdmmc0_cmd &sdmmc0_det>;
	status = "disabled";
};

&sdmmc1 {
	max-frequency = <200000000>;
	supports-sdio;
	bus-width = <4>;
	disable-wp;
	cap-sd-highspeed;
	cap-sdio-irq;
	keep-power-in-suspend;
	mmc-pwrseq = <&sdio_pwrseq>;
	non-removable;
	pinctrl-names = "default";
	pinctrl-0 = <&sdmmc1_bus4 &sdmmc1_cmd &sdmmc1_clk>;
	sd-uhs-sdr104;
	rockchip,default-sample-phase = <90>;
	status = "okay";
};


&tsadc {
	status = "okay";
};

&uart1 {
	status = "okay";
	pinctrl-names = "default";
	pinctrl-0 = <&uart1m0_xfer &uart1m0_ctsn>;
};

&uart5 {
	status = "okay";
	pinctrl-names = "default";
	pinctrl-0 = <&uart5m1_xfer>;
};

&uart9 {
	status = "okay";
	pinctrl-names = "default";
	pinctrl-0 = <&uart9m1_xfer>;
};



/* add by rocky USB 3.0 Host/SATA/QSGMII Combo PHY_1 */
&combphy1_usq {
	status = "okay";
};

&combphy2_psq {
	status = "okay";
};

//add by rocky usb2 phy0
&u2phy0_host {
	//phy-supply = <&vcc5v0_host>;
	status = "okay";
};


//add by rocky usb2.0 phy1
&u2phy1_host {
	//phy-supply = <&vcc5v0_host>;
	status = "okay";
};

&u2phy1_otg {
	//phy-supply = <&vcc5v0_host>;
	status = "okay";
};

/* add by rocky USB OTG/USB Host_1 USB 2.0 Comb PHY_0 */
&usb2phy0 {
	status = "okay";
};

/* add by rocky USB Host_1/USB Host_2 USB 2.0 Comb PHY_0 */
&usb2phy1 {
	status = "okay";
};

/* add by rocky USB 2.0 Host_2 EHCI controller for high speed */
&usb_host0_ehci {
	status = "okay";
};

/* add by rocky USB 2.0 Host_2 OHCI controller for full/low speed */
&usb_host0_ohci {
	status = "okay";
};

/* add by rocky USB 2.0 Host_3 EHCI controller for high speed */
&usb_host1_ehci {
	status = "okay";
};

/* add by rocky USB 2.0 Host_3 OHCI controller for full/low speed */
&usb_host1_ohci {
	status = "okay";
};

&usbdrd_dwc3 {
	dr_mode = "otg";
	extcon = <&usb2phy0>;
	status = "okay";
};

/* add by rocky USB 3.0 OTG controller */
&usbdrd30 {
	status = "okay";
};

&usbhost_dwc3 {
	status = "okay";
};

/* add by rocky USB 3.0 Host_1 controller */
&usbhost30 {
	status = "okay";
};

&vdpu {
	status = "okay";
};

&vdpu_mmu {
	status = "okay";
};

&vepu {
	status = "okay";
};

&vepu_mmu {
	status = "okay";
};

&vop {
	status = "okay";
	assigned-clocks = <&cru DCLK_VOP0>, <&cru DCLK_VOP1>;
	assigned-clock-parents = <&pmucru PLL_HPLL>, <&cru PLL_VPLL>;
};

&vop_mmu {
	status = "okay";
};

#if 1 //rocky
&iep {
	status = "okay";
};

&iep_mmu {
	status = "okay";
};

&jpegd {
	status = "okay";
};

&jpegd_mmu {
	status = "okay";
};

&mpp_srv {
	status = "okay";
};
#endif

&gmac1 {
	phy-mode = "rgmii";
	clock_in_out = "output";//rk3566 provide
	//clock_in_out = "input";//phy provide

	snps,reset-gpio = <&gpio4 RK_PC2 GPIO_ACTIVE_LOW>;
	snps,reset-active-low;
	/* Reset time is 20ms, 100ms for rtl8211f */
	snps,reset-delays-us = <0 20000 100000>;

	assigned-clocks = <&cru SCLK_GMAC1_RX_TX>, <&cru SCLK_GMAC1>;
	assigned-clock-parents = <&cru SCLK_GMAC1_RGMII_SPEED>, <&cru CLK_MAC1_2TOP>;//rk3566 provide
	//assigned-clock-parents = <&cru SCLK_GMAC1_RGMII_SPEED>, <&cru CLK_MAC1_2TOP>, <&gmac1_clkin>;//phy provide
	assigned-clock-rates = <0>, <125000000>;

	pinctrl-names = "default";
	#if 1//1-rk3566 provide   0-phy provide
	pinctrl-0 = <&gmac1m0_miim
		     &gmac1m0_tx_bus2_level3
		     &gmac1m0_rx_bus2
		     &gmac1m0_rgmii_clk_level2
		     &gmac1m0_rgmii_bus_level3>;
	#else
	pinctrl-0 = <&gmac1m0_miim
		     &gmac1m0_tx_bus2_level3
		     &gmac1m0_rx_bus2
		     &gmac1m0_rgmii_clk_level2
		     &gmac1m0_rgmii_bus_level3
			 &gmac1m0_clkinout>;
	#endif
	
	tx_delay = <0x3b>;//rk3566 provide
	rx_delay = <0x22>;//rk3566 provide
	//tx_delay = <0x3b>;//phy provide
	//rx_delay = <0x1f>;//phy provide

	phy-handle = <&rgmii_phy1>;
	status = "okay";
};

&mdio1 {
	rgmii_phy1: phy@0 {
		compatible = "ethernet-phy-ieee802.3-c22";
		reg = <0x0>;
	};
};
